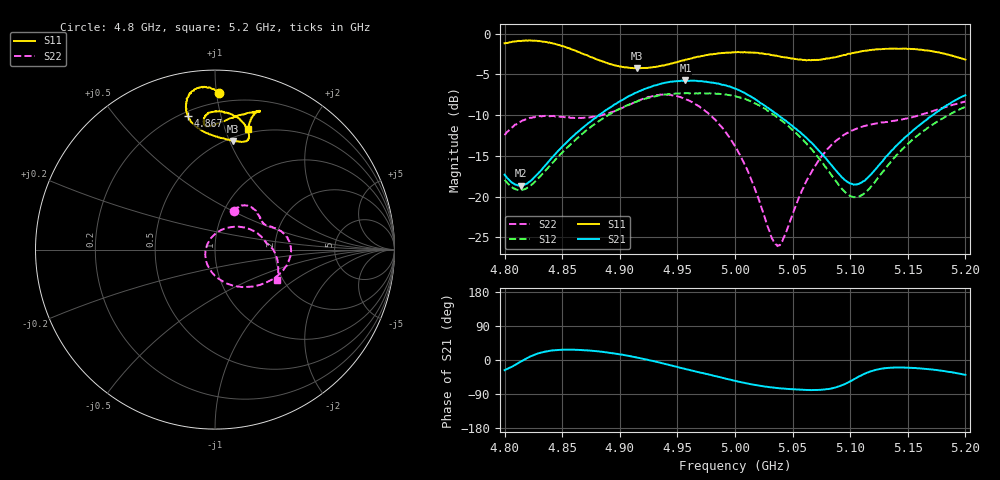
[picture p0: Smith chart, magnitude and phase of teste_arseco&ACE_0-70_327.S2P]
! Network Analyzer HP8722D
! Hewlett-Packard
! Data name: Linha & Wilkinson
! Saver's name: Rodrigo Anjos
! Comments: Teste da utilização de aquisição
! continua pelo VNA HP8722D
! Time and date: 8/5/2025 15:29
!  Frequency  S11  S21  S12  S22
# HZ  S  MA R 50
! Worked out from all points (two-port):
!   401 points, 4.8 GHz to 5.2 GHz, reference 50 ohm
!   highest |S21| = -5.73 dB at 4.957 GHz (marker M1); lowest = -18.7 dB at 4.814 GHz (marker M2)
!   |S21| within 3 dB of the highest: 4.895 GHz to 5.025 GHz (130 MHz wide, 2.62 % of centre); 5.184302 GHz to end of sweep
!   lowest |S11| = -4.2 dB at 4.915 GHz (marker M3), VSWR 4.18, Z = 26.5 + j51.5 ohm
!   |S11| at or under -10 dB: nowhere
!   |S22| runs from -26.1 to -7.4 dB; largest |S21 - S12| = 0.89
!   S11 on the Smith chart (normalised r, x): 4.8 GHz: 0.14, +1.02; 4.867 GHz: 0.23, +0.79; 5.2 GHz: 0.46, +1.20
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4.8e9  0.8742 88.5  0.1364 -26.8  0.1267 100.7  0.2385 63.9
4.814e9  0.9016 92.5  0.1167 -4.3  0.1095 120.4  0.2888 58.1
4.824e9  0.9074 95.3  0.1275 11.3  0.1191 135.0  0.3052 52.3
4.845e9  0.8606 100.2  0.1859 26.3  0.1713 150.2  0.3112 39.6
4.867e9  0.7585 101.3  0.262 26.1  0.2415 153.4  0.3045 30.4
4.894e9  0.6447 93.0  0.3616 17.9  0.3293 148.0  0.3321 22.9
4.915e9  0.614 80.6  0.4372 6.4  0.3836 139.8  0.3848 14.9
4.934e9  0.6322 73.6  0.4895 -6.6  0.4192 129.2  0.4208 2.8
4.957e9  0.693 74.9  0.5168 -23.6  0.4311 114.8  0.3974 -16.6
4.981e9  0.7486 81.1  0.501 -41.3  0.4308 99.5  0.3045 -41.6
5e9  0.7715 87.3  0.4606 -55.0  0.4147 86.2  0.2037 -69.4
5.019e9  0.7641 92.2  0.3906 -66.7  0.3694 73.1  0.1032 -110.4
5.031e9  0.7417 94.2  0.3419 -72.0  0.3283 66.6  0.05796 -158.0
5.037e9  0.7298 94.8  0.3183 -74.1  0.3065 64.2  0.04966 163.9
5.043e9  0.7173 95.0  0.2964 -75.8  0.283 61.7  0.05741 126.3
5.067e9  0.6903 92.7  0.2126 -79.2  0.1937 57.7  0.1441 58.3
5.084e9  0.7119 87.2  0.155 -75.0  0.1349 63.9  0.2087 35.8
5.103e9  0.7628 79.2  0.1184 -51.6  0.09922 90.7  0.2572 19.4
5.114e9  0.7879 75.4  0.1284 -34.4  0.1073 110.4  0.2731 13.4
5.134e9  0.8094 72.4  0.1848 -20.6  0.1594 125.9  0.2896 7.3
5.17e9  0.7849 73.9  0.3107 -24.7  0.2723 120.4  0.3328 -2.5
5.2e9  0.6942 74.8  0.4197 -39.1  0.3564 108.8  0.3827 -25.8
